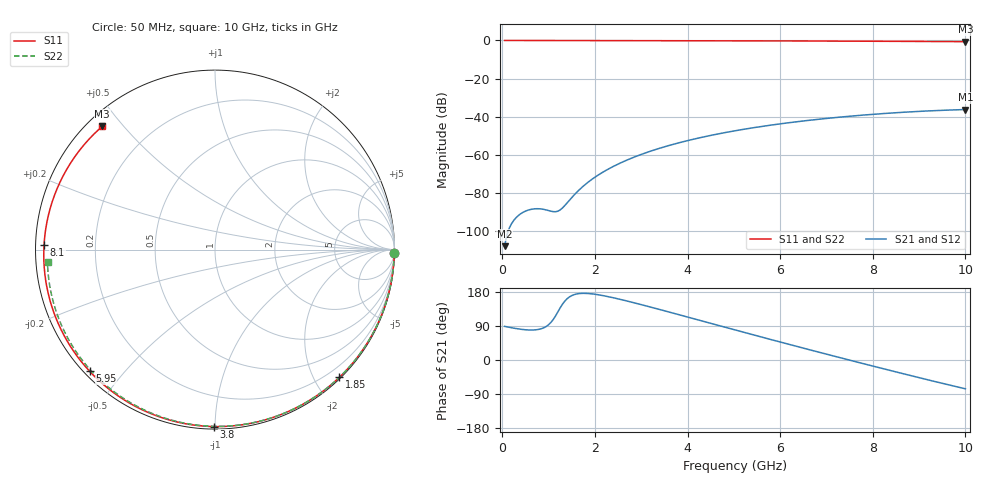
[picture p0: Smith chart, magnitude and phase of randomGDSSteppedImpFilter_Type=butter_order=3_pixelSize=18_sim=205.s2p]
! freq	dB(S11)	phase(S11)	dB(S12)	phase(S12)
!  dB(S21)	phase(S21)	dB(S22)	phase(S22)
!S-par simulation data
#  GHz  S  DB  R 50
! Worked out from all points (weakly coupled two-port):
!   200 points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, 50 MHz to 10 GHz, reference 50 ohm
!   highest |S21| = -36.18 dB at 10 GHz (marker M1); lowest = -107.8 dB at 50 MHz (marker M2)
!   lowest |S11| = -0.6 dB at 10 GHz (marker M3), VSWR 27.85, Z = 2.14 + j22 ohm
!   |S11| at or under -10 dB: nowhere
!   |S22| runs from -0.6 to 0.0 dB; largest |S21 - S12| = 0
!   S11 on the Smith chart (normalised r, x): 50 MHz: 1, -93; 1.85 GHz: 0.02, -2.37; 3.8 GHz: 0.01, -0.99; 5.95 GHz: 0.02, -0.41; 8.1 GHz: 0.02, +0.01; 10 GHz: 0.04, +0.44
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0.05  -0.00 -1.2  -107.76 88.7  -107.76 88.7  -0.00 -1.0
0.8  -0.03 -20.1  -88.18 81.2  -88.18 81.2  -0.02 -16.1
1.55  -0.05 -38.5  -80.97 172.4  -80.97 172.4  -0.04 -31.0
1.6  -0.05 -39.8  -79.71 174.0  -79.71 174.0  -0.04 -32.0
1.75  -0.06 -43.4  -76.30 175.9  -76.30 175.9  -0.04 -34.9
1.85  -0.06 -45.8  -74.30 175.5  -74.30 175.5  -0.05 -36.9
2.15  -0.07 -52.9  -69.31 170.5  -69.31 170.5  -0.05 -42.7
2.5  -0.08 -61.1  -64.76 161.4  -64.76 161.4  -0.06 -49.3
2.9  -0.09 -70.3  -60.61 149.3  -60.61 149.3  -0.07 -56.8
3.4  -0.11 -81.6  -56.45 133.2  -56.45 133.2  -0.09 -66.0
3.8  -0.12 -90.5  -53.70 120.0  -53.70 120.0  -0.10 -73.2
4.4  -0.15 -103.4  -50.25 100.1  -50.25 100.1  -0.12 -83.8
5.05  -0.18 -117.1  -47.21 78.6  -47.21 78.6  -0.15 -94.9
5.95  -0.23 -135.9  -43.85 49.1  -43.85 49.1  -0.19 -109.8
6.7  -0.29 -151.4  -41.62 24.9  -41.62 24.9  -0.24 -122.0
7.4  -0.35 -166.2  -39.92 2.8  -39.92 2.8  -0.29 -133.2
8.1  -0.42 178.5  -38.52 -19.1  -38.52 -19.1  -0.35 -144.3
8.35  -0.45 172.9  -38.09 -26.8  -38.09 -26.8  -0.38 -148.3
8.8  -0.49 162.4  -37.42 -40.6  -37.42 -40.6  -0.43 -155.6
9.2  -0.54 152.8  -36.91 -52.6  -36.91 -52.6  -0.47 -162.2
9.6  -0.58 142.8  -36.50 -64.5  -36.50 -64.5  -0.52 -168.8
10  -0.62 132.4  -36.18 -76.0  -36.18 -76.0  -0.58 -175.7
